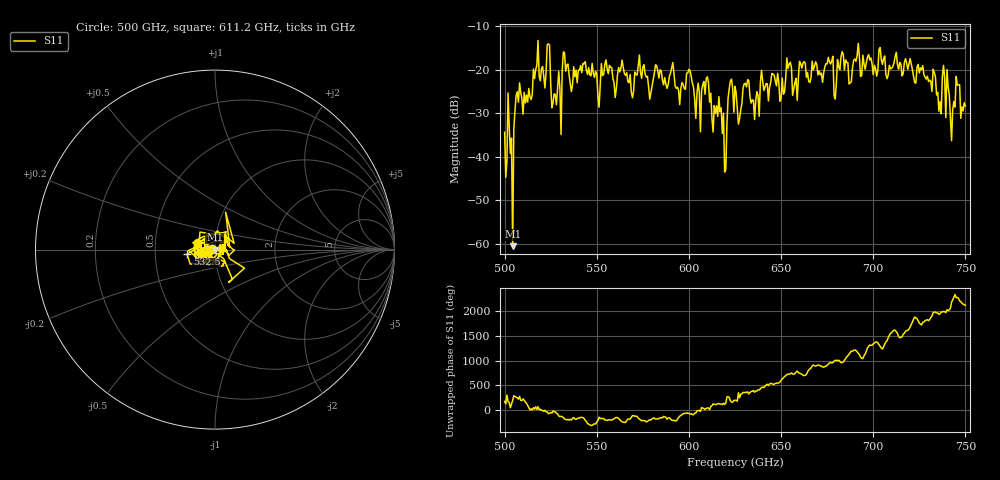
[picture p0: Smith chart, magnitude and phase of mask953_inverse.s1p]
!Created with skrf (http://scikit-rf.org).
# GHz S MA R 50.0
!freq magS11 angS11
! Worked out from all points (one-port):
!   401 points, 500 GHz to 750 GHz, reference 50 ohm
!   lowest |S11| = -60.6 dB at 504.4 GHz (marker M1), VSWR 1.00, Z = 49.9 - j0.0325 ohm
!   |S11| at or under -10 dB: start of sweep to end of sweep
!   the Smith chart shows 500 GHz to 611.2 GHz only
!   S11 on the Smith chart (normalised r, x): 500 GHz: 0.96, +0.00; 532.5 GHz: 0.73, -0.04; 611.2 GHz: 1.09, +0.02
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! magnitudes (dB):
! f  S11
! 500 GHz  -34.4
! 504.4 GHz  -60.6
! 506.9 GHz  -25.1
! 513.8 GHz  -26.2
! 516.9 GHz  -20.0
! 523.8 GHz  -14.1
! 526.9 GHz  -25.6
! 531.2 GHz  -20.2
! 532.5 GHz  -16.1
! 550.6 GHz  -26.0
! 562.5 GHz  -20.5
! 593.8 GHz  -24.0
! 600 GHz  -19.9
! 605 GHz  -23.1
! 611.2 GHz  -27.5
! 617.5 GHz  -28.8
! 619.4 GHz  -43.6
! 622.5 GHz  -22.6
! 625 GHz  -23.8
! 656.2 GHz  -25.9
! 687.5 GHz  -23.1
! 691.2 GHz  -16.8
! 718.8 GHz  -19.9
! 735.6 GHz  -29.6
! 738.8 GHz  -21.9
! 743.1 GHz  -29.1
! 745.6 GHz  -23.5
! 750 GHz  -28.4
